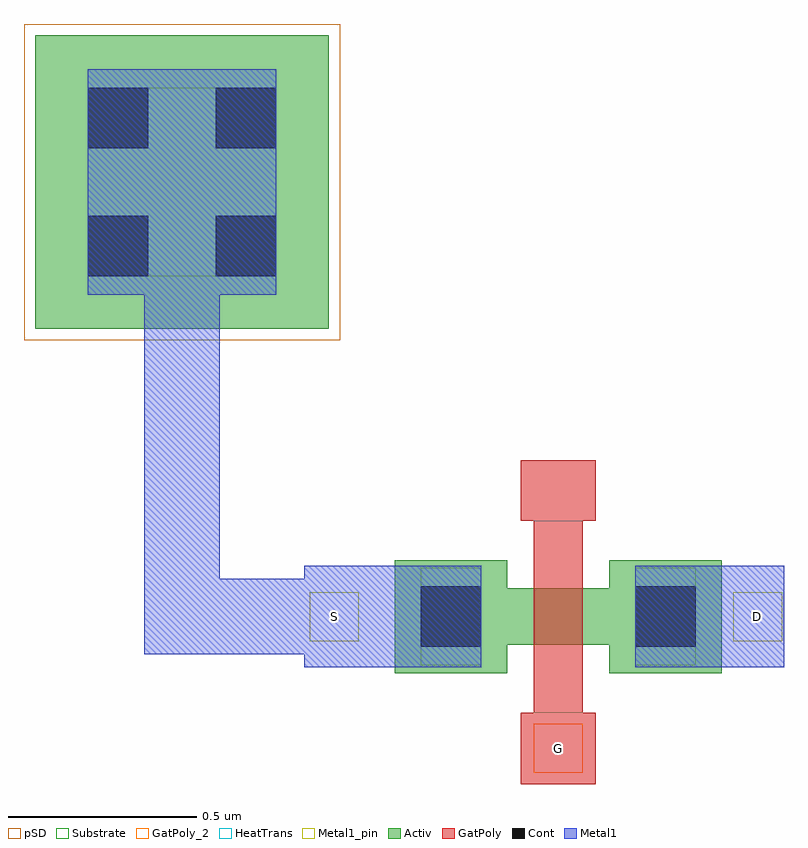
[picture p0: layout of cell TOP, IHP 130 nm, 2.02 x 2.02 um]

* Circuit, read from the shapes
.subckt TOP D G S
XM1 D G S S sg13_lv_nmos w=0.15u l=0.13u
.ends

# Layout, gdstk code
import gdstk
lib = gdstk.Library(unit=1e-6, precision=1e-09)
def R(c, l, rs):  # rectangles x0, y0, x1, y1
    for r in rs: c.add(gdstk.rectangle(r[:2], r[2:], *l))
Activ = (1, 0)
GatPoly = (5, 0)
GatPoly_2 = (5, 2)
Cont = (6, 0)
Metal1 = (8, 0)
Metal1_pin = (8, 2)
pSD = (14, 0)
Substrate = (40, 0)
HeatTrans = (51, 0)

nmos = lib.new_cell('nmos')
R(nmos, Activ, [(0,0,0.3,0.3), (0.57,0,0.87,0.3), (0,0.075,0.87,0.225)])
R(nmos, GatPoly, [(0.37,-0.105,0.5,0.405)])
R(nmos, GatPoly_2, [(0.37,-0.105,0.5,0.405)])
R(nmos, Cont, [(0.07,0.07,0.23,0.23), (0.64,0.07,0.8,0.23)])
R(nmos, Metal1, [(0.07,0.02,0.23,0.28), (0.64,0.02,0.8,0.28)])
R(nmos, Metal1_pin, [(0.07,0.02,0.23,0.28), (0.64,0.02,0.8,0.28)])
R(nmos, HeatTrans, [(0.37,-0.105,0.5,0.405)])
nmos.add(gdstk.Label('nmos', (0.435,0.15), layer=63, texttype=0))
nmos.add(gdstk.Label('nmos', (0.435,0.15), layer=51, texttype=0))

ptap1 = lib.new_cell('ptap1')
R(ptap1, Activ, [(0,0,0.78,0.78)])
R(ptap1, Cont, [(0.14,0.14,0.3,0.3), (0.48,0.14,0.64,0.3), (0.14,0.48,0.3,0.64), (0.48,0.48,0.64,0.64)])
R(ptap1, Metal1, [(0.14,0.09,0.64,0.69), (0.14,0.14,0.64,0.64)])
R(ptap1, Metal1_pin, [(0.14,0.14,0.64,0.64)])
R(ptap1, pSD, [(-0.03,-0.03,0.81,0.81)])
R(ptap1, Substrate, [(0,0,0.78,0.78)])
ptap1.add(gdstk.Label('sub!', (0.39,0.01), layer=63, texttype=0))
ptap1.add(gdstk.Label('sub!', (0.39,0.01), layer=40, texttype=0))

top = lib.new_cell('TOP')
R(top, GatPoly_2, [(-0.065,-0.415,0.065,-0.285)])
R(top, Metal1, [(-0.675,-0.135,-0.205,0.135), (0.205,-0.135,0.6,0.135)])
R(top, Metal1_pin, [(-0.66,-0.065,-0.53,0.065), (0.465,-0.065,0.595,0.065)])
top.add(gdstk.FlexPath([(-1,0.905),(-1,0),(-0.675,0)], 0.2, ends="flush", simple_path=True, layer=8, datatype=0))  # Metal1
top.add(gdstk.FlexPath([(0,0.255),(0,0.415)], 0.2, ends="flush", simple_path=True, layer=5, datatype=0))  # GatPoly
top.add(gdstk.FlexPath([(0,-0.255),(0,-0.445)], 0.2, ends="flush", simple_path=True, layer=5, datatype=0))  # GatPoly
top.add(gdstk.Reference(nmos, (-0.435,-0.15)))
top.add(gdstk.Reference(ptap1, (-1.39,0.765)))
top.add(gdstk.Label('S', (-0.595,0), layer=8, texttype=25))
top.add(gdstk.Label('D', (0.53,0), layer=8, texttype=25))
top.add(gdstk.Label('G', (0,-0.35), layer=5, texttype=1))

lib.write_gds('TOP.gds')
